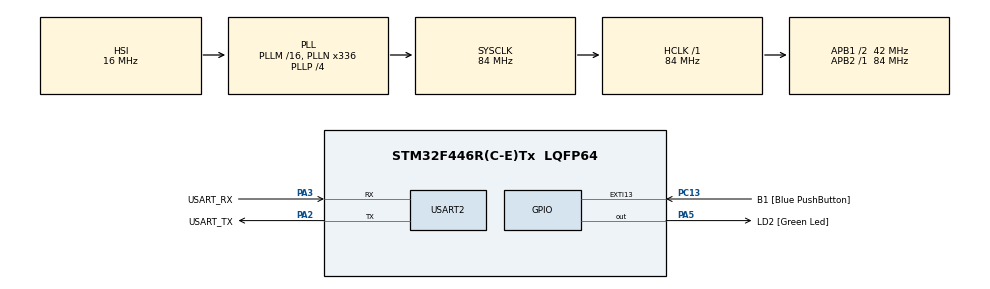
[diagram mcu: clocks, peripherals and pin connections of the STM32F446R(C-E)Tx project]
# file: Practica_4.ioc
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Mcu.Family=STM32F4
Mcu.Name=STM32F446R(C-E)Tx
Mcu.Package=LQFP64
NVIC.PriorityGroup=NVIC_PRIORITYGROUP_0
PA13.GPIO_Label=TMS
PA13.Mode=Serial_Wire
PA13.Signal=SYS_JTMS-SWDIO
PA14.GPIO_Label=TCK
PA14.Mode=Serial_Wire
PA14.Signal=SYS_JTCK-SWCLK
PA2.GPIO_Label=USART_TX
PA2.Mode=Asynchronous
PA2.Signal=USART2_TX
PA3.GPIO_Label=USART_RX
PA3.Mode=Asynchronous
PA3.Signal=USART2_RX
PA5.GPIO_Label=LD2 [Green Led]
PA5.Signal=GPIO_Output
PB3.GPIO_Label=SWO
PB3.Signal=SYS_JTDO-SWO
PC13.GPIO_Label=B1 [Blue PushButton]
PC13.GPIO_ModeDefaultEXTI=GPIO_MODE_IT_FALLING
PC13.Signal=GPXTI13
PC14-OSC32_IN.Mode=LSE-External-Oscillator
PC14-OSC32_IN.Signal=RCC_OSC32_IN
PC15-OSC32_OUT.Mode=LSE-External-Oscillator
PC15-OSC32_OUT.Signal=RCC_OSC32_OUT
PH0-OSC_IN.Mode=HSE-External-Oscillator
PH0-OSC_IN.Signal=RCC_OSC_IN
PH1-OSC_OUT.Mode=HSE-External-Oscillator
PH1-OSC_OUT.Signal=RCC_OSC_OUT
ProjectManager.HeapSize=0x200
ProjectManager.StackSize=0x400
ProjectManager.TargetToolchain=STM32CubeIDE
RCC.48MHZClocksFreq_Value=84000000
RCC.AHBFreq_Value=84000000
RCC.APB1CLKDivider=RCC_HCLK_DIV2
RCC.APB1Freq_Value=42000000
RCC.APB1TimFreq_Value=84000000
RCC.APB2Freq_Value=84000000
RCC.APB2TimFreq_Value=84000000
RCC.CortexFreq_Value=84000000
RCC.FLatency-AdvancedSettings=FLASH_LATENCY_2
RCC.HCLKFreq_Value=84000000
RCC.HSE_VALUE=8000000
RCC.HSI_VALUE=16000000
RCC.PLLN=336
RCC.PLLP=RCC_PLLP_DIV4
RCC.SYSCLKFreq_VALUE=84000000
RCC.SYSCLKSource=RCC_SYSCLKSOURCE_PLLCLK
RCC.USBFreq_Value=168000000
RCC.VCOOutputFreq_Value=336000000
USART2.VirtualMode=VM_ASYNC
board=NUCLEO-F446RE

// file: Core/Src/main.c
/* USER CODE BEGIN Header */
/**
  ******************************************************************************
  * @file           : main.c
  * @brief          : Main program body
  ******************************************************************************
  * @attention
  *
  * Copyright (c) 2026 STMicroelectronics.
  * All rights reserved.
  *
  * This software is licensed under terms that can be found in the LICENSE file
  * in the root directory of this software component.
  * If no LICENSE file comes with this software, it is provided AS-IS.
  *
  ******************************************************************************
  */
/* USER CODE END Header */
#include "main.h"

/* USER CODE BEGIN Includes */
#include "API_delay.h"
#include "API_debounce.h"
/* USER CODE END Includes */

/* USER CODE BEGIN PTD */
typedef enum{
	BUTTON_UP,
	BUTTON_FALLING,
	BUTTON_DOWN,
	BUTTON_RISING,
} debounceState_t;
/* USER CODE END PTD */

/* USER CODE BEGIN PD */
#define DELAY_DEBOUNCE 40
/* USER CODE END PD */

UART_HandleTypeDef huart2;

void SystemClock_Config(void);
static void MX_GPIO_Init(void);
static void MX_USART2_UART_Init(void);

/* USER CODE BEGIN 0 */

//PUNTO 2
/*

void buttonPressed(void)
{
	HAL_GPIO_WritePin(LD2_GPIO_Port, LD2_Pin, GPIO_PIN_SET); //enciendo el led
}

void buttonReleased(void)
{
	HAL_GPIO_WritePin(LD2_GPIO_Port, LD2_Pin, GPIO_PIN_RESET); // apago el led
}

static debounceState_t estadoActual = 0;

static delay_t delayFSM;

void debounceFSM_init(void){

	estadoActual = BUTTON_UP;
	delayInit(&delayFSM, DELAY_DEBOUNCE);

}

void debounceFSM_update(void){
	// Leer la entrada
	uint8_t button_level = HAL_GPIO_ReadPin(B1_GPIO_Port, B1_Pin); // leo el estado del pin del boton
	if(button_level){ // si es true el boton NO esta apretado
		buttonReleased();
	}
	else{
		buttonPressed(); //si es false el boton esta apretado
	}

	switch (estadoActual) {

		case BUTTON_UP: // estado inicial boton levantado
			// Condicion de cambio;
			if(!button_level){		// si detecto que lo presione
				estadoActual = BUTTON_FALLING;
				delayRead(&delayFSM); //empiezo el timer

			}

		break;
		case BUTTON_FALLING:

			if(delayRead(&delayFSM)){

				if (!button_level){ //el boton sigue presionado
					estadoActual = BUTTON_DOWN; //confirmo que esta presionado
				}else{
					estadoActual = BUTTON_UP; //fue un rebote y vuelvo al estado de levantado
				}
			}

		break;

		case BUTTON_DOWN: //estado de boton: presionado
			// Condicion de cambio;
			if(button_level){ //si NO esta presionado
				estadoActual = BUTTON_RISING; //indico que esta en rising
				delayRead(&delayFSM); //inicio el delay
			}
		break;

		case BUTTON_RISING:
			if(delayRead(&delayFSM)){

				if (button_level){ //si no esta apretado, es que se levantó efectivamente
					estadoActual = BUTTON_UP;

				}else{ //el boton sigue bajo, entonces sigue presionado
					estadoActual = BUTTON_DOWN;
				}
			}
		break;

		default:
			estadoActual = BUTTON_UP;

	}

}
*/

/* USER CODE END 0 */

int main(void)
{

  /* MCU Configuration--------------------------------------------------------*/

  /* Reset of all peripherals, Initializes the Flash interface and the Systick. */
  HAL_Init();

  /* Configure the system clock */
  SystemClock_Config();

  /* Initialize all configured peripherals */
  MX_GPIO_Init();
  MX_USART2_UART_Init();
  /* USER CODE BEGIN 2 */
  delay_t delayLed;
  const tick_t times[2] = {500,100};
  uint8_t flagFrequency = 0; //flag para determinar el tiempo de parpadeo del led
  delayInit(&delayLed,times[1]); //seteo el delay para el parpadeo del led

  debounceFSM_init();

  /* USER CODE END 2 */

  /* Infinite loop */
  /* USER CODE BEGIN WHILE */
  while (1)
  {
	  debounceFSM_update();
	  if(readKey()){ //si hubo pulsación del botón, cambio el flag para cambiar la frecuencia de parpadeo del led
		  if(flagFrequency){
			  flagFrequency = 0;

		  }
		  else{
			  flagFrequency = 1;
		  }
		  delayWrite(&delayLed,times[flagFrequency]); //seteo la nueva duracion del delay
	  }
	  if(delayRead(&delayLed)){ //si se cumple el delay toggleo el led
		  HAL_GPIO_TogglePin(LD2_GPIO_Port, LD2_Pin);
	  }

    /* USER CODE END WHILE */

  }
}

void SystemClock_Config(void)
{
  RCC_OscInitTypeDef RCC_OscInitStruct = {0};
  RCC_ClkInitTypeDef RCC_ClkInitStruct = {0};

  /** Configure the main internal regulator output voltage
  */
  __HAL_RCC_PWR_CLK_ENABLE();
  __HAL_PWR_VOLTAGESCALING_CONFIG(PWR_REGULATOR_VOLTAGE_SCALE3);

  /** Initializes the RCC Oscillators according to the specified parameters
  * in the RCC_OscInitTypeDef structure.
  */
  RCC_OscInitStruct.OscillatorType = RCC_OSCILLATORTYPE_HSI;
  RCC_OscInitStruct.HSIState = RCC_HSI_ON;
  RCC_OscInitStruct.HSICalibrationValue = RCC_HSICALIBRATION_DEFAULT;
  RCC_OscInitStruct.PLL.PLLState = RCC_PLL_ON;
  RCC_OscInitStruct.PLL.PLLSource = RCC_PLLSOURCE_HSI;
  RCC_OscInitStruct.PLL.PLLM = 16;
  RCC_OscInitStruct.PLL.PLLN = 336;
  RCC_OscInitStruct.PLL.PLLP = RCC_PLLP_DIV4;
  RCC_OscInitStruct.PLL.PLLQ = 2;
  RCC_OscInitStruct.PLL.PLLR = 2;
  if (HAL_RCC_OscConfig(&RCC_OscInitStruct) != HAL_OK)
  {
    Error_Handler();
  }

  /** Initializes the CPU, AHB and APB buses clocks
  */
  RCC_ClkInitStruct.ClockType = RCC_CLOCKTYPE_HCLK|RCC_CLOCKTYPE_SYSCLK
                              |RCC_CLOCKTYPE_PCLK1|RCC_CLOCKTYPE_PCLK2;
  RCC_ClkInitStruct.SYSCLKSource = RCC_SYSCLKSOURCE_PLLCLK;
  RCC_ClkInitStruct.AHBCLKDivider = RCC_SYSCLK_DIV1;
  RCC_ClkInitStruct.APB1CLKDivider = RCC_HCLK_DIV2;
  RCC_ClkInitStruct.APB2CLKDivider = RCC_HCLK_DIV1;

  if (HAL_RCC_ClockConfig(&RCC_ClkInitStruct, FLASH_LATENCY_2) != HAL_OK)
  {
    Error_Handler();
  }
}

static void MX_USART2_UART_Init(void)
{

  huart2.Instance = USART2;
  huart2.Init.BaudRate = 115200;
  huart2.Init.WordLength = UART_WORDLENGTH_8B;
  huart2.Init.StopBits = UART_STOPBITS_1;
  huart2.Init.Parity = UART_PARITY_NONE;
  huart2.Init.Mode = UART_MODE_TX_RX;
  huart2.Init.HwFlowCtl = UART_HWCONTROL_NONE;
  huart2.Init.OverSampling = UART_OVERSAMPLING_16;
  if (HAL_UART_Init(&huart2) != HAL_OK)
  {
    Error_Handler();
  }

}

static void MX_GPIO_Init(void)
{
  GPIO_InitTypeDef GPIO_InitStruct = {0};

  /* GPIO Ports Clock Enable */
  __HAL_RCC_GPIOC_CLK_ENABLE();
  __HAL_RCC_GPIOH_CLK_ENABLE();
  __HAL_RCC_GPIOA_CLK_ENABLE();
  __HAL_RCC_GPIOB_CLK_ENABLE();

  /*Configure GPIO pin Output Level */
  HAL_GPIO_WritePin(LD2_GPIO_Port, LD2_Pin, GPIO_PIN_RESET);

  /*Configure GPIO pin : B1_Pin */
  GPIO_InitStruct.Pin = B1_Pin;
  GPIO_InitStruct.Mode = GPIO_MODE_IT_FALLING;
  GPIO_InitStruct.Pull = GPIO_NOPULL;
  HAL_GPIO_Init(B1_GPIO_Port, &GPIO_InitStruct);

  /*Configure GPIO pin : LD2_Pin */
  GPIO_InitStruct.Pin = LD2_Pin;
  GPIO_InitStruct.Mode = GPIO_MODE_OUTPUT_PP;
  GPIO_InitStruct.Pull = GPIO_NOPULL;
  GPIO_InitStruct.Speed = GPIO_SPEED_FREQ_LOW;
  HAL_GPIO_Init(LD2_GPIO_Port, &GPIO_InitStruct);

}

void Error_Handler(void)
{
  __disable_irq();
  while (1)
  {
  }
}
